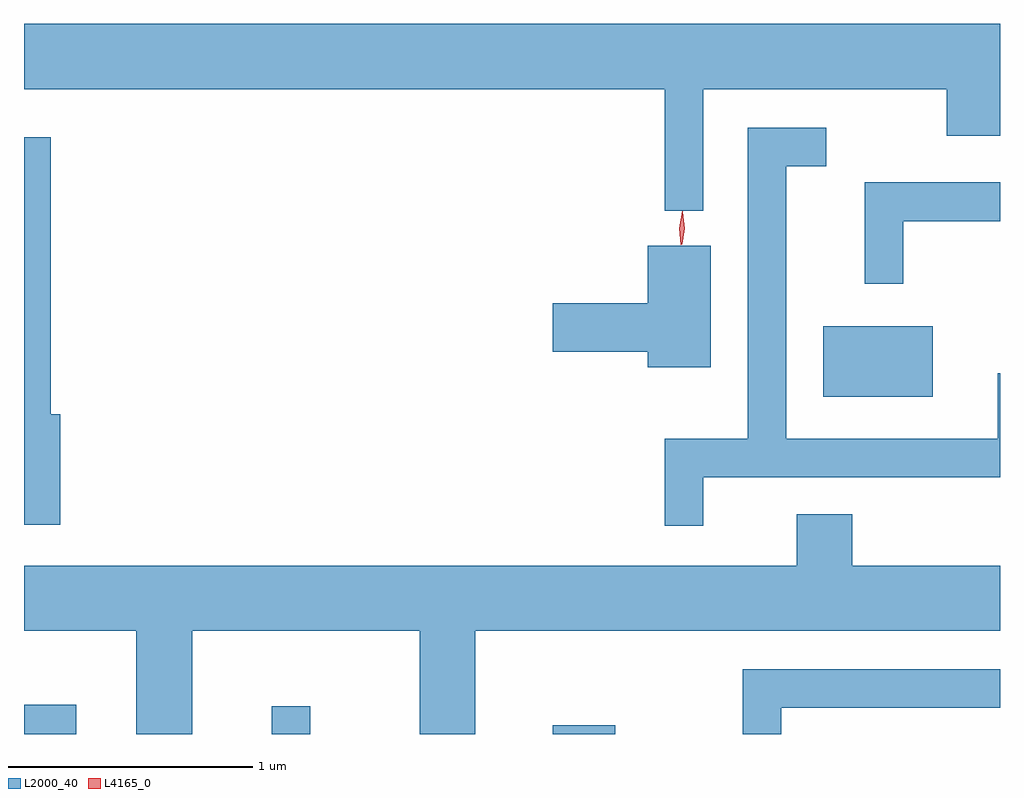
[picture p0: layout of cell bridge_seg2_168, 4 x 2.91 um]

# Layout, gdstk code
import gdstk
lib = gdstk.Library(unit=1e-6, precision=1e-09)
def R(c, l, rs):  # rectangles x0, y0, x1, y1
    for r in rs: c.add(gdstk.rectangle(r[:2], r[2:], *l))
def P(c, l, *ps):  # polygons
    for p in ps: c.add(gdstk.Polygon(p, *l))
L2000_40 = (2000, 40)
L4165_0 = (4165, 0)

bridge_seg2_168 = lib.new_cell('bridge_seg2_168')
R(bridge_seg2_168, L2000_40, [(698.54,979.073,698.754,979.194), (699.556,979.073,699.714,979.188), (700.706,979.073,700.964,979.109), (701.816,980.456,702.264,980.744)])
P(bridge_seg2_168, L2000_40, [(701.324,981.716),(702.321,981.716),(702.321,981.526),(702.54,981.526),(702.54,981.984),(698.54,981.984),(698.54,981.716),(701.166,981.716),(701.166,981.218),(701.324,981.218)],
  [(701.324,980.126),(702.54,980.126),(702.54,980.553),(702.531,980.553),(702.531,980.284),(701.664,980.284),(701.664,981.401),(701.828,981.401),(701.828,981.559),(701.506,981.559),(701.506,980.284),(701.166,980.284),(701.166,979.928),(701.324,979.928)],
  [(698.689,980.384),(698.649,980.384),(698.649,981.519),(698.54,981.519),(698.54,979.931),(698.689,979.931)],
  [(702.144,981.176),(702.54,981.176),(702.54,981.334),(701.986,981.334),(701.986,980.918),(702.144,980.918)],
  [(701.354,981.074),(701.096,981.074),(701.096,980.839),(700.706,980.839),(700.706,980.641),(701.096,980.641),(701.096,980.576),(701.354,980.576)],
  [(699.229,979.496),(700.161,979.496),(700.161,979.073),(700.389,979.073),(700.389,979.496),(702.54,979.496),(702.54,979.764),(701.934,979.764),(701.934,979.974),(701.706,979.974),(701.706,979.764),(698.54,979.764),(698.54,979.496),(699.001,979.496),(699.001,979.073),(699.229,979.073)],
  [(701.644,979.181),(702.54,979.181),(702.54,979.339),(701.486,979.339),(701.486,979.073),(701.644,979.073)])
P(bridge_seg2_168, L4165_0, [(701.236,981.08),(701.236,981.081),(701.228,981.146),(701.238,981.211),(701.239,981.212),(701.239,981.211),(701.248,981.146),(701.237,981.081)],
  [(701.232,981.078),(701.232,981.078),(701.226,981.147),(701.238,981.215),(701.239,981.215),(701.239,981.215),(701.245,981.146),(701.233,981.078)])

lib.write_gds('bridge_seg2_168.gds')
